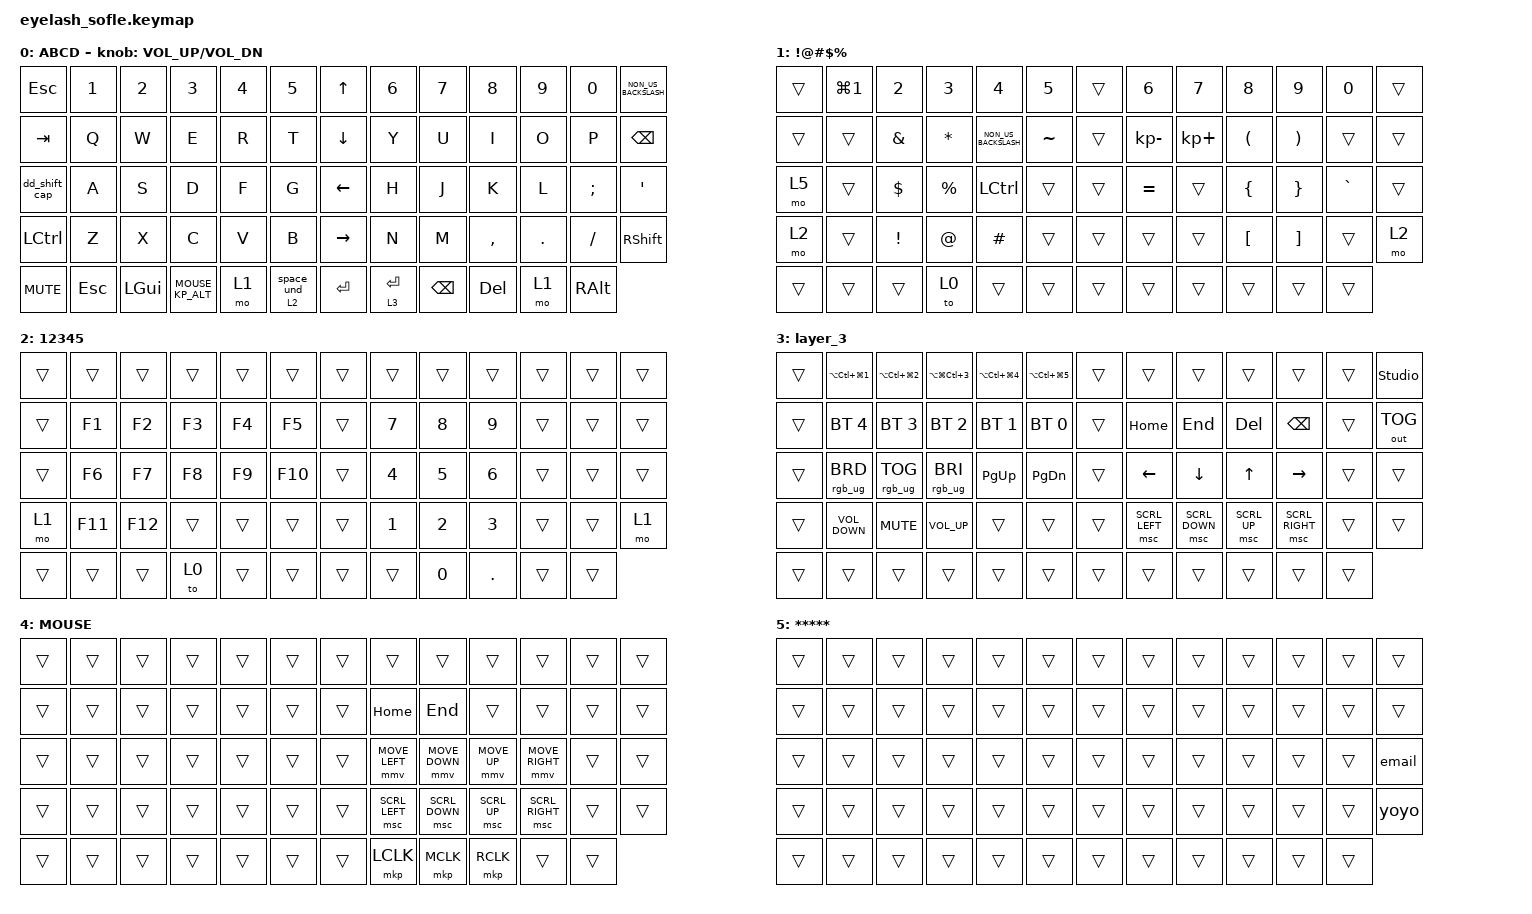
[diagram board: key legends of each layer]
#define ZMK_POINTING_DEFAULT_MOVE_VAL 1200  // 600
#define ZMK_POINTING_DEFAULT_SCRL_VAL 25   // 10

#include <input/processors.dtsi>
#include <zephyr/dt-bindings/input/input-event-codes.h>
#include <behaviors.dtsi>
#include <dt-bindings/zmk/bt.h>
#include <dt-bindings/zmk/keys.h>
#include <dt-bindings/zmk/outputs.h>
#include <dt-bindings/zmk/pointing.h>
#include <dt-bindings/zmk/rgb.h>

&mmv_input_listener { input-processors = <&zip_xy_scaler 2 1>; };

&msc_input_listener { input-processors = <&zip_scroll_scaler 2 1>; };

&msc {
    acceleration-exponent = <1>;      // 0
    time-to-max-speed-ms = <100>;       // 300
    delay-ms = <0>;                   // 0
};

&mmv {
    time-to-max-speed-ms = <500>;
    acceleration-exponent = <1>;
    trigger-period-ms = <16>;
};

&soft_off { hold-time-ms = <2000>; };

/ {
    scroll_encoder: scroll_encoder {
        compatible = "zmk,behavior-sensor-rotate";
        #sensor-binding-cells = <0>;
        bindings = <&msc SCRL_DOWN>, <&msc SCRL_UP>;

        tap-ms = <100>;
    };

    space_und: space_und {
        compatible = "zmk,behavior-mod-morph";
        label = "SPACE_UND";
        bindings = <&kp SPACE>, <&kp UNDERSCORE>;

        #binding-cells = <0>;
        mods = <(MOD_LSFT)>;
    };

    LT_Space: LT_Space {
        compatible = "zmk,behavior-hold-tap";
        label = "LT_SPACE";
        bindings = <&mo>, <&space_und>;

        #binding-cells = <2>;
        tapping-term-ms = <200>;
        quick-tap-ms = <175>;
        flavor = "tap-preferred";
    };

    dd_shift_cap: dd_shift_cap {
        compatible = "zmk,behavior-tap-dance";
        label = "DD_SHIFT_CAP";
        #binding-cells = <0>;
        bindings = <&kp LEFT_SHIFT>, <&kp CAPS>;

        tapping-term-ms = <150>;
    };

    MOUSE_KP_ALT: MOUSE_KP_ALT {
        compatible = "zmk,behavior-tap-dance";
        label = "MOUSE_KP_ALT";
        #binding-cells = <0>;
        bindings = <&kp LEFT_ALT>, <&mo 4>;
    };

    behaviors {
    };

    combos {
        compatible = "zmk,combos";

        softoff {
            bindings = <&soft_off>;
            key-positions = <14 28 40>;
        };

        Equal {
            bindings = <&kp EQUAL>;
            key-positions = <34 35>;
        };
    };

    macros {
        SHIFT_MCLK: SHIFT_MCLK {
            compatible = "zmk,behavior-macro";
            #binding-cells = <0>;
            bindings =
                <&macro_press>,
                <&kp LEFT_SHIFT>,
                <&macro_press>,
                <&mkp MB3>,
                <&macro_pause_for_release>,
                <&macro_release>,
                <&kp LEFT_SHIFT &mkp MB3>;

            label = "SHIFT_MCLK";
        };

        email: email {
            compatible = "zmk,behavior-macro";
            #binding-cells = <0>;
            bindings = <&kp C &kp B &kp A &kp E &kp AT &kp I &kp D &kp E &kp X &kp C &kp O &kp R &kp P &kp DOT &kp C &kp O &kp M>;
            label = "EMAIL";
        };

        yoyo: yoyo {
            compatible = "zmk,behavior-macro";
            #binding-cells = <0>;
            bindings = <&kp M &kp E &kp L &kp L &kp E &kp S &kp N1 &kp N2 &kp N3 &kp N4 &kp N5 &kp DLLR>;
            label = "YOYO";
        };
    };

    keymap {
        compatible = "zmk,keymap";

        BASE_LAYER {
            bindings = <
&kp ESC        &kp N1      &kp N2        &kp N3         &kp N4  &kp N5           &kp UP_ARROW     &kp N6        &kp N7         &kp N8      &kp N9   &kp N0         &kp NON_US_BACKSLASH
&kp TAB        &kp Q       &kp W         &kp E          &kp R   &kp T            &kp DOWN_ARROW   &kp Y         &kp U          &kp I       &kp O    &kp P          &kp BACKSPACE
&dd_shift_cap  &kp A       &kp S         &kp D          &kp F   &kp G            &kp LEFT_ARROW   &kp H         &kp J          &kp K       &kp L    &kp SEMI       &kp APOS
&kp LCTRL      &kp Z       &kp X         &kp C          &kp V   &kp B            &kp RIGHT_ARROW  &kp N         &kp M          &kp COMMA   &kp DOT  &kp FSLH       &kp RSHIFT
&kp C_MUTE     &kp ESCAPE  &kp LEFT_GUI  &MOUSE_KP_ALT  &mo 1   &LT_Space 2 0    &kp ENTER        &lt 3 RETURN  &kp BACKSPACE  &kp DELETE  &mo 1    &kp RIGHT_ALT
            >;

            sensor-bindings = <&inc_dec_kp C_VOLUME_UP C_VOL_DN>;
            display-name = "ABCD";
        };

        SYMBOL_LAYER {
            bindings = <
&trans  &kp LG(NUMBER_1)  &kp N2           &kp N3        &kp N4                &kp N5       &trans  &kp N6        &kp N7       &kp N8                &kp N9                 &kp N0     &trans
&trans  &trans            &kp AMPERSAND    &kp ASTERISK  &kp NON_US_BACKSLASH  &kp TILDE    &trans  &kp KP_MINUS  &kp KP_PLUS  &kp LEFT_PARENTHESIS  &kp RIGHT_PARENTHESIS  &trans     &trans
&mo 5   &trans            &kp DOLLAR       &kp PERCENT   &kp LCTRL             &trans       &trans  &kp EQUAL     &trans       &kp LEFT_BRACE        &kp RIGHT_BRACE        &kp GRAVE  &trans
&mo 2   &trans            &kp EXCLAMATION  &kp AT_SIGN   &kp HASH              &trans       &trans  &trans        &trans       &kp LBKT              &kp RBKT               &trans     &mo 2
&trans  &trans            &trans           &to 0         &trans                &trans       &trans  &trans        &trans       &trans                &trans                 &trans
            >;

            label = "!@#$%";
        };

        NUMBER_LAYER {
            bindings = <
&trans  &trans   &trans   &trans  &trans  &trans     &trans  &trans  &trans  &trans      &trans  &trans  &trans
&trans  &kp F1   &kp F2   &kp F3  &kp F4  &kp F5     &trans  &kp N7  &kp N8  &kp N9      &trans  &trans  &trans
&trans  &kp F6   &kp F7   &kp F8  &kp F9  &kp F10    &trans  &kp N4  &kp N5  &kp N6      &trans  &trans  &trans
&mo 1   &kp F11  &kp F12  &trans  &trans  &trans     &trans  &kp N1  &kp N2  &kp N3      &trans  &trans  &mo 1
&trans  &trans   &trans   &to 0   &trans  &trans     &trans  &trans  &kp N0  &kp PERIOD  &trans  &trans
            >;

            label = "12345";
        };

        layer_3 {
            bindings = <
&trans  &kp LA(LC(LG(NUMBER_1)))  &kp LA(LC(LG(N2)))  &kp LA(LG(LC(N3)))  &kp LA(LC(LG(N4)))  &kp LA(LC(LG(N5)))    &trans  &trans          &trans          &trans        &trans           &trans  &studio_unlock
&trans  &bt BT_SEL 4              &bt BT_SEL 3        &bt BT_SEL 2        &bt BT_SEL 1        &bt BT_SEL 0          &trans  &kp HOME        &kp END         &kp DELETE    &kp BACKSPACE    &trans  &out OUT_TOG
&trans  &rgb_ug RGB_BRD           &rgb_ug RGB_TOG     &rgb_ug RGB_BRI     &kp PAGE_UP         &kp PAGE_DOWN         &trans  &kp LEFT        &kp DOWN        &kp UP_ARROW  &kp RIGHT        &trans  &trans
&trans  &kp C_VOLUME_DOWN         &kp C_MUTE          &kp C_VOLUME_UP     &trans              &trans                &trans  &msc SCRL_LEFT  &msc SCRL_DOWN  &msc SCRL_UP  &msc SCRL_RIGHT  &trans  &trans
&trans  &trans                    &trans              &trans              &trans              &trans                &trans  &trans          &trans          &trans        &trans           &trans
            >;
        };

        MOUSE_LAYER {
            bindings = <
&trans  &trans  &trans  &trans  &trans  &trans    &trans  &trans          &trans          &trans        &trans           &trans  &trans
&trans  &trans  &trans  &trans  &trans  &trans    &trans  &kp HOME        &kp END         &trans        &trans           &trans  &trans
&trans  &trans  &trans  &trans  &trans  &trans    &trans  &mmv MOVE_LEFT  &mmv MOVE_DOWN  &mmv MOVE_UP  &mmv MOVE_RIGHT  &trans  &trans
&trans  &trans  &trans  &trans  &trans  &trans    &trans  &msc SCRL_LEFT  &msc SCRL_DOWN  &msc SCRL_UP  &msc SCRL_RIGHT  &trans  &trans
&trans  &trans  &trans  &trans  &trans  &trans    &trans  &mkp LCLK       &mkp MCLK       &mkp RCLK     &trans           &trans
            >;

            label = "MOUSE";
        };

        OffLayer {
            bindings = <
&trans  &trans  &trans  &trans  &trans  &trans    &trans  &trans  &trans  &trans  &trans  &trans  &trans
&trans  &trans  &trans  &trans  &trans  &trans    &trans  &trans  &trans  &trans  &trans  &trans  &trans
&trans  &trans  &trans  &trans  &trans  &trans    &trans  &trans  &trans  &trans  &trans  &trans  &email
&trans  &trans  &trans  &trans  &trans  &trans    &trans  &trans  &trans  &trans  &trans  &trans  &yoyo
&trans  &trans  &trans  &trans  &trans  &trans    &trans  &trans  &trans  &trans  &trans  &trans
            >;

            label = "*****";
        };
    };
};
